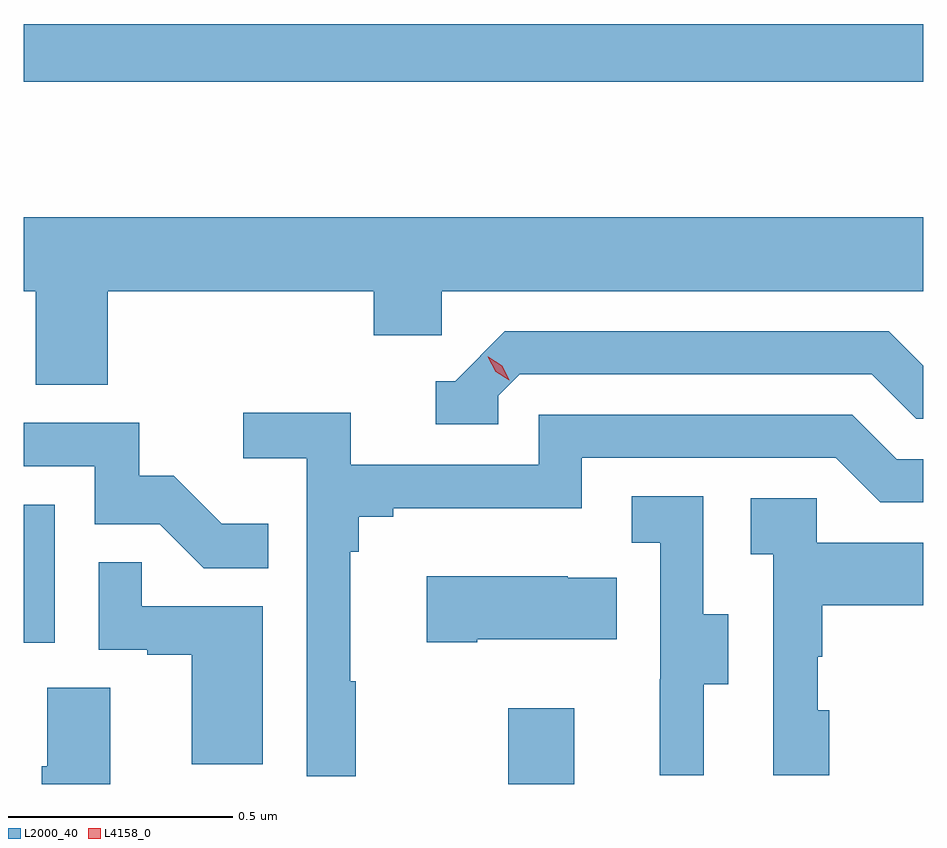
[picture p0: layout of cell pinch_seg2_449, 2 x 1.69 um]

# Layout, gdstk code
import gdstk
lib = gdstk.Library(unit=1e-6, precision=1e-09)
def R(c, l, rs):  # rectangles x0, y0, x1, y1
    for r in rs: c.add(gdstk.rectangle(r[:2], r[2:], *l))
def P(c, l, *ps):  # polygons
    for p in ps: c.add(gdstk.Polygon(p, *l))
L2000_40 = (2000, 40)
L4158_0 = (4158, 0)

pinch_seg2_449 = lib.new_cell('pinch_seg2_449')
R(pinch_seg2_449, L2000_40, [(921.958,622.564,922.105,622.732), (920.881,622.878,920.95,623.185), (920.881,624.126,922.881,624.254)])
P(pinch_seg2_449, L2000_40, [(921.068,623.66),(921.659,623.66),(921.659,623.562),(921.81,623.562),(921.81,623.66),(922.881,623.66),(922.881,623.824),(920.881,623.824),(920.881,623.66),(920.908,623.66),(920.908,623.452),(921.068,623.452)],
  [(921.936,623.427),(921.984,623.475),(922.767,623.475),(922.866,623.376),(922.881,623.376),(922.881,623.494),(922.804,623.571),(921.951,623.571),(921.84,623.46),(921.797,623.46),(921.797,623.364),(921.936,623.364)],
  [(921.619,622.793),(921.607,622.793),(921.607,623.081),(921.626,623.081),(921.626,623.158),(921.703,623.158),(921.703,623.177),(922.122,623.177),(922.122,623.289),(922.686,623.289),(922.785,623.19),(922.881,623.19),(922.881,623.286),(922.822,623.286),(922.723,623.385),(922.026,623.385),(922.026,623.274),(921.608,623.274),(921.608,623.39),(921.369,623.39),(921.369,623.288),(921.51,623.288),(921.51,622.581),(921.619,622.581)],
  [(921.425,623.143),(921.321,623.143),(921.214,623.25),(921.138,623.25),(921.138,623.367),(920.881,623.367),(920.881,623.271),(921.039,623.271),(921.039,623.142),(921.183,623.142),(921.281,623.044),(921.425,623.044)],
  [(922.393,622.786),(922.447,622.786),(922.447,622.941),(922.392,622.941),(922.392,623.204),(922.233,623.204),(922.233,623.101),(922.296,623.101),(922.296,622.797),(922.295,622.797),(922.295,622.584),(922.393,622.584)],
  [(922.672,622.728),(922.647,622.728),(922.647,622.847),(922.657,622.847),(922.657,622.961),(922.881,622.961),(922.881,623.101),(922.644,623.101),(922.644,623.199),(922.497,623.199),(922.497,623.075),(922.548,623.075),(922.548,622.584),(922.672,622.584)],
  [(921.412,622.959),(921.143,622.959),(921.143,623.057),(921.048,623.057),(921.048,622.863),(921.155,622.863),(921.155,622.851),(921.254,622.851),(921.254,622.608),(921.412,622.608)],
  [(921.889,622.886),(922.199,622.886),(922.199,623.023),(922.091,623.023),(922.091,623.026),(921.777,623.026),(921.777,622.879),(921.889,622.879)],
  [(921.073,622.778),(920.933,622.778),(920.933,622.604),(920.921,622.604),(920.921,622.564),(921.073,622.564)])
P(pinch_seg2_449, L4158_0, [(921.961,623.462),(921.93,623.481),(921.913,623.514),(921.913,623.514),(921.914,623.514),(921.945,623.494),(921.961,623.462),(921.961,623.462)])

lib.write_gds('pinch_seg2_449.gds')
